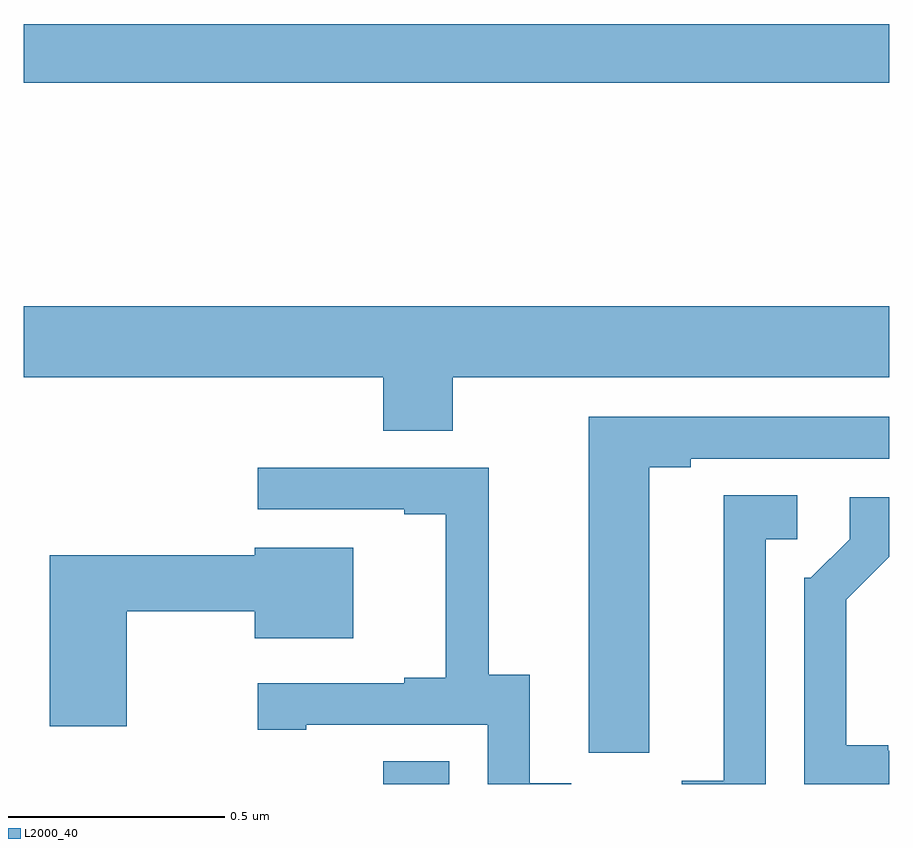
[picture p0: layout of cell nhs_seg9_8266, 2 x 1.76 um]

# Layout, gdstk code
import gdstk
lib = gdstk.Library(unit=1e-6, precision=1e-09)
def R(c, l, rs):  # rectangles x0, y0, x1, y1
    for r in rs: c.add(gdstk.rectangle(r[:2], r[2:], *l))
def P(c, l, *ps):  # polygons
    for p in ps: c.add(gdstk.Polygon(p, *l))
L2000_40 = (2000, 40)

nhs_seg9_8266 = lib.new_cell('nhs_seg9_8266')
R(nhs_seg9_8266, L2000_40, [(215.831,1175.5,215.983,1175.552), (215,1177.12,217,1177.256)])
P(nhs_seg9_8266, L2000_40, [(215.991,1176.44),(217,1176.44),(217,1176.604),(215,1176.604),(215,1176.44),(215.831,1176.44),(215.831,1176.316),(215.991,1176.316)],
  [(216.445,1176.232),(216.541,1176.232),(216.541,1176.252),(217,1176.252),(217,1176.348),(216.305,1176.348),(216.305,1175.68),(216.306,1175.68),(216.306,1175.572),(216.445,1175.572)],
  [(216.265,1175.502),(216.169,1175.502),(216.169,1175.753),(216.075,1175.753),(216.075,1176.231),(215.541,1176.231),(215.541,1176.135),(215.879,1176.135),(215.879,1176.123),(215.975,1176.123),(215.975,1175.746),(215.879,1175.746),(215.879,1175.733),(215.541,1175.733),(215.541,1175.625),(215.653,1175.625),(215.653,1175.637),(216.072,1175.637),(216.072,1175.5),(216.265,1175.5)],
  [(216.714,1176.066),(216.787,1176.066),(216.787,1176.167),(216.617,1176.167),(216.617,1175.507),(216.521,1175.507),(216.521,1175.5),(216.714,1175.5)],
  [(217,1175.577),(216.997,1175.577),(216.997,1175.59),(216.901,1175.59),(216.901,1175.926),(217,1176.025),(217,1176.162),(216.909,1176.162),(216.909,1176.066),(216.819,1175.976),(216.804,1175.976),(216.804,1175.5),(217,1175.5)],
  [(215.238,1175.899),(215.534,1175.899),(215.534,1175.837),(215.761,1175.837),(215.761,1176.046),(215.534,1176.046),(215.534,1176.028),(215.06,1176.028),(215.06,1175.634),(215.238,1175.634)])

lib.write_gds('nhs_seg9_8266.gds')
